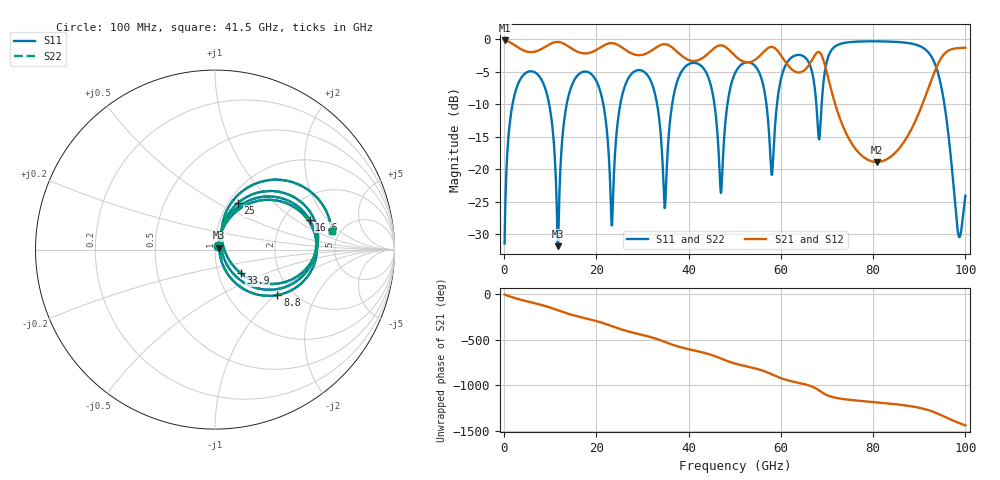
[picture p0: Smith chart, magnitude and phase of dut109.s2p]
! Touchstone file exported from HFSS 2026.1.0
!  File:  C:/ffzhzh/LocalFiles/Ansys_Project_Files/temp_train_TSV_RDL_109_1783457072_7600.aedt
!  Generated:  05:20:22 AM Jul  8, 2026
!  Design:  TSV_RDL
!  Project:  temp_train_TSV_RDL_109_1783457072_7600
! Variables:
!  h_bsmrdl = 4.45um
!  h_ox = 20um
!  h_rdl = 5um
!  h_sub = 79.29um
!  h_tmrdl = 4.94um
!  h_tsv = 79.29um
!  h_via = 3um
!  l_bsmrdl = 695.47um
!  l_sub = 5012.9um
!  l_tmrdl = 600.52um
!  m_sub = 200um
!  pitch = 59.54um
!  r_tsv = 15um
!  s_tmrdl = 10um
!  w_bsmrdl = 22.56um
!  w_sub = 500um
!  w_tmrdl = 18.91um
!  x_tsv_center1 = 609.975um
!  x_tsv_center2 = 1328.005um
!  x_tsv_center3 = 1947.435um
!  x_tsv_center4 = 2665.465um
!  x_tsv_center5 = 3284.895um
!  x_tsv_center6 = 4002.925um
# GHz S MA R 50.000000
! Terminal data exported
! Port[1] = TM_RDL1_1_T1
! Port[2] = TM_RDL5_1_T1
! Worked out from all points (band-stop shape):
!   1000 points, 100 MHz to 100 GHz, reference 50 ohm
!   highest |S21| = -0.15 dB at 100 MHz (marker M1); lowest = -18.9 dB at 80.8 GHz (marker M2)
!   |S21| within 3 dB of the highest: start of sweep to 39.96 GHz; 42.24 GHz to 51.16 GHz (8.921 GHz wide, 19.1 % of centre) (the widest 2 of 5)
!   lowest |S11| = -31.9 dB at 11.7 GHz (marker M3), VSWR 1.05, Z = 52.4 + j1.03 ohm
!   |S11| at or under -10 dB: 9.763 GHz to 13.56 GHz (3.793 GHz wide, 32.5 % of centre); 21.5 GHz to 25.18 GHz (3.681 GHz wide, 15.8 % of centre); 95.45 GHz to end of sweep (the widest 3 of 8)
!   |S22| runs from -31.8 to -0.3 dB; largest |S21 - S12| = 5e-13
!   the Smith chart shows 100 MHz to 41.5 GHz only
!   S11 on the Smith chart (normalised r, x): 100 MHz: 1.04, +0.04; 8.8 GHz: 1.66, -1.03; 16.6 GHz: 2.76, +1.33; 25 GHz: 1.11, +0.63; 33.9 GHz: 1.28, -0.35; 41.5 GHz: 4.25, +1.56
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0.1  0.02671 47.8  0.9825 -1.9  0.9825 -1.9  0.02671 47.8
! Gamma 0 0 0 0
! Port Impedance 50 0 50 0
2.6  0.4134 42.1  0.8878 -44.8  0.8878 -44.8  0.4133 42.1
8.8  0.43 -36.1  0.8732 -126.5  0.8732 -126.5  0.43 -36.1
11.7  0.02546 22.8  0.9567 -175.7  0.9567 -175.7  0.02558 22.7
16.6  0.5531 17.6  0.7886 109.2  0.7886 109.2  0.5531 17.6
16.8  0.5578 15.3  0.7856 106.7  0.7856 106.7  0.5579 15.3
23.3  0.03683 -4.4  0.9376 11.2  0.9376 11.2  0.0368 -4.4
25  0.2901 63.7  0.8934 -19.1  0.8934 -19.1  0.2901 63.7
33.4  0.2792 -38.6  0.8881 -136.5  0.8881 -136.5  0.2793 -38.6
33.9  0.1932 -42.6  0.9061 -145.5  0.9061 -145.5  0.1933 -42.6
41.5  0.658 9.1  0.6841 99.3  0.6841 99.3  0.6579 9.2
47  0.06549 12.1  0.9008 13.9  0.9008 13.9  0.06618 12.1
50.1  0.5531 43.7  0.7458 -41.8  0.7458 -41.8  0.5532 43.6
58.5  0.1594 63.8  0.8659 -171.1  0.8659 -171.1  0.1593 64.0
66.7  0.5714 -14.5  0.6897 66.4  0.6897 66.4  0.5717 -14.4
68.3  0.1694 21.0  0.7988 22.2  0.7988 22.2  0.1705 21.0
70.3  0.743 43.1  0.4975 -35.4  0.4975 -35.4  0.7431 43.0
80.8  0.9675 -19.3  0.1135 -109.1  0.1135 -109.1  0.9675 -19.2
83.4  0.9634 -30.4  0.1217 -121.5  0.1217 -121.5  0.9635 -30.4
93.5  0.635 -121.7  0.5827 138.1  0.5827 138.1  0.6351 -121.7
96.4  0.1746 -178.4  0.8232 71.5  0.8232 71.5  0.1747 -178.5
100  0.06232 70.5  0.8621 -2.8  0.8621 -2.8  0.06238 70.9
